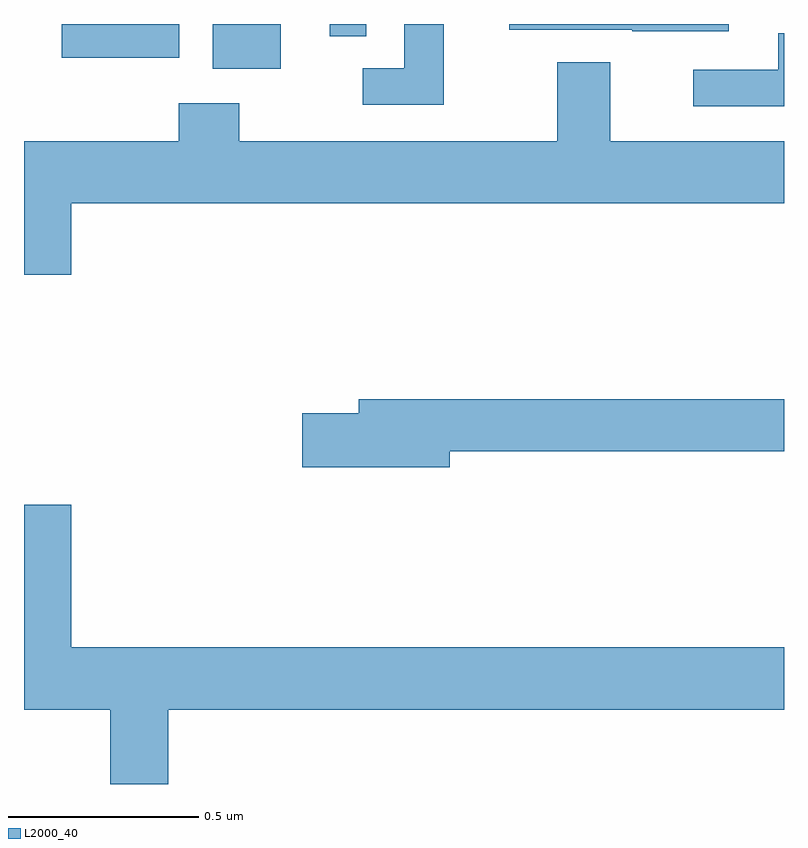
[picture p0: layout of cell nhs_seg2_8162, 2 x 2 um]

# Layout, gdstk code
import gdstk
lib = gdstk.Library(unit=1e-6, precision=1e-09)
def R(c, l, rs):  # rectangles x0, y0, x1, y1
    for r in rs: c.add(gdstk.rectangle(r[:2], r[2:], *l))
def P(c, l, *ps):  # polygons
    for p in ps: c.add(gdstk.Polygon(p, *l))
L2000_40 = (2000, 40)

nhs_seg2_8162 = lib.new_cell('nhs_seg2_8162')
R(nhs_seg2_8162, L2000_40, [(213.497,622.682,213.676,622.8), (213.099,622.711,213.408,622.8), (213.804,622.768,213.9,622.8)])
P(nhs_seg2_8162, L2000_40, [(214.855,622.8),(214.277,622.8),(214.277,622.785),(214.601,622.785),(214.601,622.781),(214.855,622.781)],
  [(214.105,622.8),(214.001,622.8),(214.001,622.683),(213.891,622.683),(213.891,622.587),(214.105,622.587)],
  [(215,622.776),(214.985,622.776),(214.985,622.68),(214.761,622.68),(214.761,622.584),(215,622.584)],
  [(213.124,622.328),(215,622.328),(215,622.492),(214.543,622.492),(214.543,622.7),(214.403,622.7),(214.403,622.492),(213.567,622.492),(213.567,622.591),(213.407,622.591),(213.407,622.492),(213,622.492),(213,622.14),(213.124,622.14)],
  [(214.12,621.676),(215,621.676),(215,621.812),(213.881,621.812),(213.881,621.776),(213.732,621.776),(213.732,621.634),(214.12,621.634)],
  [(213.38,620.996),(215,620.996),(215,621.16),(213.124,621.16),(213.124,621.535),(213,621.535),(213,620.996),(213.227,620.996),(213.227,620.8),(213.38,620.8)])

lib.write_gds('nhs_seg2_8162.gds')
